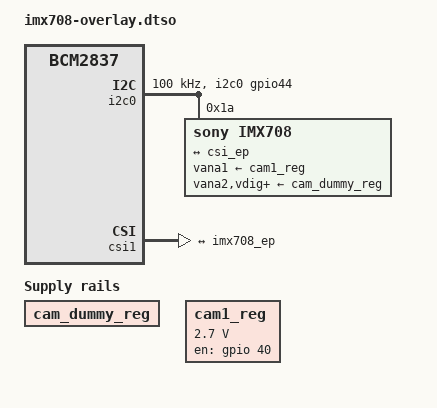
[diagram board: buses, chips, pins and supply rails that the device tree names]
/dts-v1/;
/plugin/;

#include <dt-bindings/gpio/gpio.h>
#include <dt-bindings/pinctrl/bcm2835.h>

/ {
	compatible = "brcm,bcm2837";
};

&{/} {
	cam1_clk: cam1_clk {
		compatible = "fixed-clock";
		#clock-cells = <0>;
		clock-frequency = <24000000>;
		status = "okay";
	};

	cam_dummy_reg: cam_dummy_reg {
		compatible = "regulator-fixed";
		regulator-name = "cam-dummy-reg";
		status = "okay";
	};

	cam1_reg: cam1_regulator {
		compatible = "regulator-fixed";
		regulator-name = "cam1-reg";
		startup-delay-us = <70000>;
		off-on-delay-us = <30000>;
		regulator-min-microvolt = <2700000>;
		regulator-max-microvolt = <2700000>;
		gpio = <&gpio 40 GPIO_ACTIVE_HIGH>;
		enable-active-high;
		// Downstream says: "Needs to be enabled, as removing a regulator is very unsafe."
		// Can we remove this?
		status = "okay";
	};
};

&gpio {
	cam1_shutdown: cam1_shutdown {
		// GPIO 11 on the CSI connector corresponds to GPIO 40 on the
		// Pi, which is the ENABLE pin (CAM_GPIO1). Camera Module 3
		// reference schematic references CAM_GPIO0, but it is in fact
		// CAM_GPIO1:
		// https://forums.raspberrypi.com/viewtopic.php?t=313414#p1875095

		// If this pin isn't high then the sensor has no power and
		// won't respond to I2C commands:
		// https://forums.raspberrypi.com/viewtopic.php?p=2327657#p2327657

		// Downstream doesn't specify this in their overlay.
		brcm,pins = <40>;
		brcm,function = <BCM2835_FSEL_GPIO_OUT>;
	};
};

&i2c0 {
	#address-cells = <1>;
	#size-cells = <0>;
	clock-frequency = <100000>;
	status = "okay";

	// GPIO 44 and 45 correspond to the I2C SDA0, SCL0 pins in the CSI
	// connector, used to communicate with the camera.
	// Downstream uses a muxed i2c, but we do not need it.
	pinctrl-names = "default";
	pinctrl-0 = <&i2c0_gpio44>;

	imx708: imx708@1a {
		compatible = "sony,imx708";
		reg = <0x1a>;

		clocks = <&cam1_clk>;
		clock-names = "inclk";

		vana1-supply = <&cam1_reg>;	/* 2.8v */
		vana2-supply = <&cam_dummy_reg>;/* 1.8v */
		vdig-supply = <&cam_dummy_reg>;	/* 1.1v */
		vddl-supply = <&cam_dummy_reg>;	/* 1.8v */

		port {
			imx708_ep: endpoint {
				remote-endpoint = <&csi_ep>;
				clock-lanes = <0>;
				data-lanes = <1 2>;
				link-frequencies = /bits/ 64 <450000000>;
				clock-noncontinuous;
			};
		};
	};
};

&csi1 {
	// By default it is configured for 4 lanes.
	// Can we remove this?
	brcm,num-data-lanes = <0x02>;
	status = "okay";

	port {
		csi_ep: endpoint {
			remote-endpoint = <&imx708_ep>;
			clock-lanes = <0>;
			data-lanes = <1 2>;
			clock-noncontinuous;
		};
	};
};
